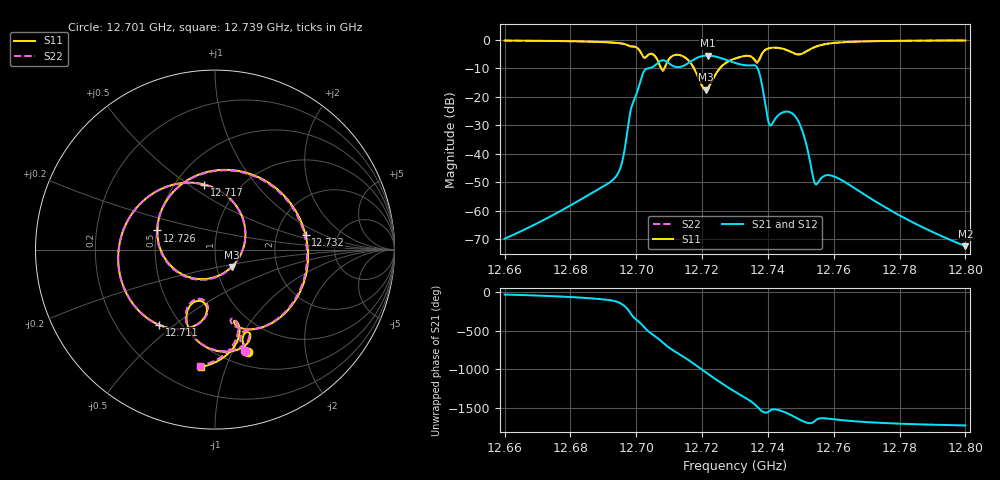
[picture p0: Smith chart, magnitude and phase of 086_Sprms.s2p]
! TOUCHSTONE file generated by CST MICROWAVE STUDIO
! Date and time: Wed Jul 31 15:04:20 2024
! Project name: WaveGuide_BPF-Ver4.1_U-shape_Ku_T3_C4_CWA_2.cst
! Parameters = {cavity_h=16; cavity_l0=10; cavity_l1=15.2179; cavity_l2=16.8434; cavity_l3=17.102; cavity_l4=17.2985; cavity_l5=17.1689; cavity_l6=17.6335; cavity_r=2.5; cavity_screw_l=0.5; cavity_screw_r=1.5; cavity_w=8; iris_h00=0; iris_h01=8.8187; iris_h112=0; iris_h12=5.6112; iris_h211=3.6532; i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
! Header version: 2018
! Port assignment regex: !\s*Touchstone port\s*([0-9]+)\s*=\s*(CST MWS port|CST DS port)\s*([0-9]+|Zmin|Zmax)\s*\(\"(.*)\"\)(\s*mode\s*([0-9]+))?.*
! Touchstone port assignment:
! Touchstone port 1 = CST MWS port 1 ("")
! Touchstone port 2 = CST MWS port 2 ("")
# GHz S RI R 50
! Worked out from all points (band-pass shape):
!   5001 points, 12.66 GHz to 12.8 GHz, reference 50 ohm
!   highest |S21| = -5.46 dB at 12.722 GHz (marker M1); lowest = -72.5 dB at 12.8 GHz (marker M2)
!   |S21| within 3 dB of the highest: 12.70612 GHz to 12.71025 GHz (4.126 MHz wide, 0.0325 % of centre); 12.71532 GHz to 12.73129 GHz (15.97 MHz wide, 0.125 % of centre)
!   lowest |S11| = -17.5 dB at 12.721 GHz (marker M3), VSWR 1.31, Z = 59 - j11.5 ohm
!   |S11| at or under -10 dB: 12.70756 GHz to 12.70847 GHz (910 kHz wide, 0.00716 % of centre); 12.71754 GHz to 12.72535 GHz (7.808 MHz wide, 0.0614 % of centre)
!   |S22| runs from -17.4 to -0.1 dB; largest |S21 - S12| = 1e-09
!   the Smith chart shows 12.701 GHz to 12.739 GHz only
!   S11 on the Smith chart (normalised r, x): 12.701 GHz: 0.65, -1.15; 12.711 GHz: 0.38, -0.44; 12.717 GHz: 0.69, +0.58; 12.726 GHz: 0.50, +0.12; 12.732 GHz: 2.94, +0.63; 12.739 GHz: 0.36, -0.83
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12.66  0.4105 0.8872  0.000279 -0.000155  0.000279 -0.000155  0.4129 0.8861
12.68335  0.8493 0.4163  0.000556 -0.00149  0.000556 -0.00149  0.8513 0.412
12.69452  0.8432 -0.2687  -0.00287 -0.0036  -0.00287 -0.0036  0.8407 -0.2759
12.70144  0.1842 -0.5704  0.1396 -0.151  0.1396 -0.151  0.1687 -0.5672
12.70668  -0.1587 -0.3884  -0.1983 0.3503  -0.1983 0.3503  -0.1635 -0.3788
12.7109  -0.311 -0.4201  0.3236 -0.1503  0.3236 -0.1503  -0.3048 -0.4226
12.7137  -0.5306 0.0398  -0.0556 -0.3359  -0.0556 -0.3359  -0.5318 0.0341
12.71687  -0.0594 0.3626  -0.4275 0.0583  -0.4275 0.0583  -0.0667 0.3637
12.72104  0.093 -0.096  0.3772 0.3742  0.3772 0.3742  0.1011 -0.09
12.72168  0.0389 -0.1357  0.482 0.2276  0.482 0.2276  0.0494 -0.1326
12.7258  -0.3213 0.1065  -0.0445 -0.4771  -0.0445 -0.4771  -0.3232 0.0921
12.73  0.2664 0.3912  -0.3479 0.1896  -0.3479 0.1896  0.2613 0.3892
12.73193  0.5048 0.0792  -0.0784 0.3613  -0.0784 0.3613  0.5012 0.0723
12.73552  0.1882 -0.4442  0.3604 0.0309  0.3604 0.0309  0.1664 -0.4443
12.73902  -0.0758 -0.6541  -0.0413 -0.0766  -0.0413 -0.0766  -0.0835 -0.6478
12.74369  -0.716 -0.0773  -0.00189 -0.0504  -0.00189 -0.0504  -0.7163 -0.0578
12.7477  -0.1101 0.5804  -0.048 -0.0121  -0.048 -0.0121  -0.0857 0.5831
12.75055  0.565 0.1347  -0.0159 0.0184  -0.0159 0.0184  0.5733 0.1129
12.75335  0.4446 -0.558  -0.00142 0.00477  -0.00142 0.00477  0.433 -0.5715
12.76245  -0.6126 -0.6759  -0.00271 0.00208  -0.00271 0.00208  -0.6197 -0.6703
12.77668  -0.9547 -0.1326  -0.000228 0.00103  -0.000228 0.00103  -0.9558 -0.1268
12.8  -0.9271 0.3261  6.63e-05 0.000227  6.63e-05 0.000227  -0.9258 0.3301
